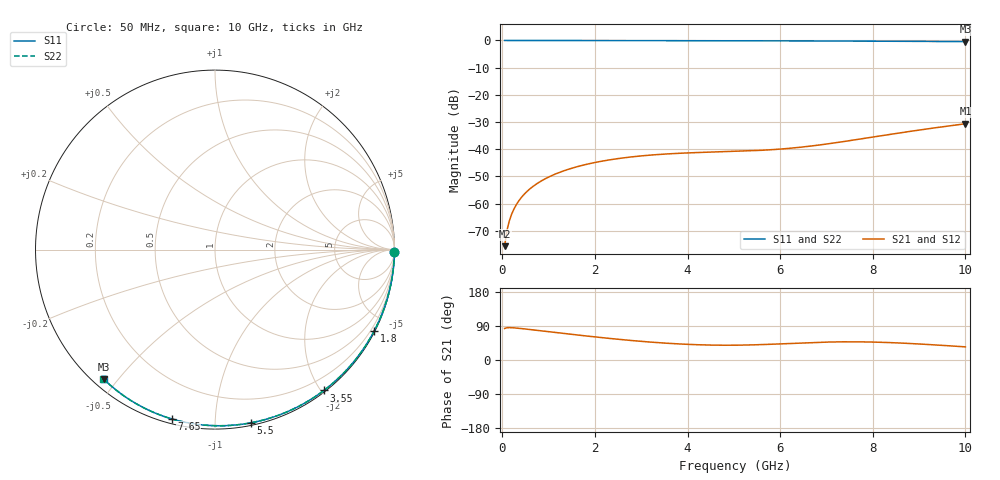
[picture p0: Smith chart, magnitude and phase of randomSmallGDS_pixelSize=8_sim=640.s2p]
! freq	dB(S11)	phase(S11)	dB(S12)	phase(S12)
!  dB(S21)	phase(S21)	dB(S22)	phase(S22)
!S-par simulation data
#  GHz  S  DB  R 50
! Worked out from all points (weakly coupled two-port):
!   200 points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, 50 MHz to 10 GHz, reference 50 ohm
!   highest |S21| = -30.64 dB at 10 GHz (marker M1); lowest = -75.7 dB at 50 MHz (marker M2)
!   lowest |S11| = -0.4 dB at 10 GHz (marker M3), VSWR 40.08, Z = 1.51 - j22.9 ohm
!   |S11| at or under -10 dB: nowhere
!   |S22| runs from -0.4 to 0.0 dB; largest |S21 - S12| = 0
!   S11 on the Smith chart (normalised r, x): 50 MHz: open; 1.8 GHz: 0.04, -4.14; 3.55 GHz: 0.02, -2.04; 5.5 GHz: 0.02, -1.23; 7.65 GHz: 0.02, -0.78; 10 GHz: 0.03, -0.46
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0.05  -0.00 -0.8  -75.67 83.2  -75.67 83.2  -0.00 -0.8
0.1  -0.00 -1.5  -69.92 85.1  -69.92 85.1  -0.00 -1.5
0.15  -0.00 -2.3  -66.46 85.4  -66.46 85.4  -0.00 -2.3
0.2  -0.00 -3.1  -63.99 85.2  -63.99 85.2  -0.00 -3.1
0.25  -0.00 -3.8  -62.06 84.8  -62.06 84.8  -0.00 -3.8
0.35  -0.00 -5.4  -59.16 83.7  -59.16 83.7  -0.00 -5.4
0.5  -0.01 -7.6  -56.10 81.8  -56.10 81.8  -0.01 -7.7
0.7  -0.01 -10.7  -53.23 79.0  -53.23 79.0  -0.01 -10.7
1  -0.02 -15.2  -50.25 74.7  -50.25 74.7  -0.02 -15.2
1.35  -0.03 -20.5  -47.82 69.8  -47.82 69.8  -0.03 -20.5
1.75  -0.03 -26.4  -45.85 64.2  -45.85 64.2  -0.03 -26.4
1.8  -0.03 -27.1  -45.64 63.6  -45.64 63.6  -0.03 -27.1
2.5  -0.05 -37.4  -43.45 54.7  -43.45 54.7  -0.05 -37.4
3.4  -0.07 -50.2  -41.91 45.5  -41.91 45.5  -0.07 -50.2
3.55  -0.07 -52.3  -41.75 44.3  -41.75 44.3  -0.07 -52.3
4.3  -0.09 -62.5  -41.18 40.0  -41.18 40.0  -0.09 -62.6
5.05  -0.11 -72.5  -40.79 39.1  -40.79 39.1  -0.11 -72.5
5.5  -0.13 -78.3  -40.49 40.2  -40.49 40.2  -0.13 -78.3
6.7  -0.18 -93.1  -38.77 46.1  -38.77 46.1  -0.18 -93.2
7.65  -0.23 -104.4  -36.47 48.0  -36.47 48.0  -0.23 -104.4
8.35  -0.28 -112.4  -34.61 46.0  -34.61 46.0  -0.28 -112.4
10  -0.43 -130.8  -30.64 34.7  -30.64 34.7  -0.43 -130.8
